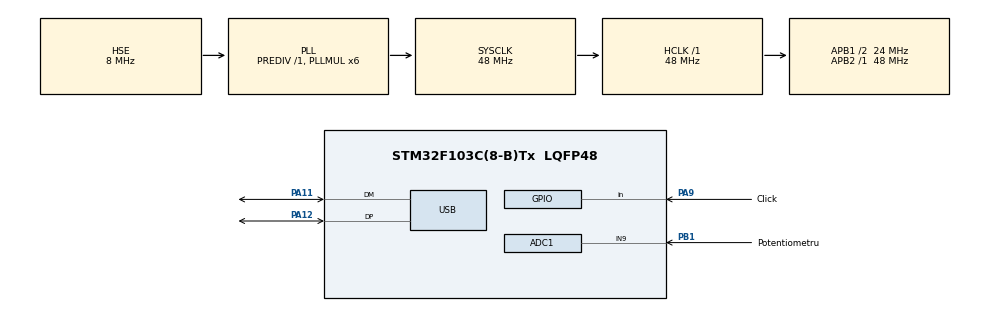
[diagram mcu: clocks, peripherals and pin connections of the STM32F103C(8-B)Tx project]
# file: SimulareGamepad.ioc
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ADC1.Channel-0\#ChannelRegularConversion=ADC_CHANNEL_9
ADC1.ContinuousConvMode=ENABLE
ADC1.NbrOfConversionFlag=1
ADC1.Rank-0\#ChannelRegularConversion=1
ADC1.SamplingTime-0\#ChannelRegularConversion=ADC_SAMPLETIME_1CYCLE_5
ADC1.master=1
Mcu.Family=STM32F1
Mcu.Name=STM32F103C(8-B)Tx
Mcu.Package=LQFP48
NVIC.PriorityGroup=NVIC_PRIORITYGROUP_4
NVIC.USB_LP_CAN1_RX0_IRQn=true\:0\:0\:false\:false\:true\:false\:true\:true
PA11.Mode=Device
PA11.Signal=USB_DM
PA12.Mode=Device
PA12.Signal=USB_DP
PA13.Mode=Serial_Wire
PA13.Signal=SYS_JTMS-SWDIO
PA14.Mode=Serial_Wire
PA14.Signal=SYS_JTCK-SWCLK
PA9.GPIO_Label=Click
PA9.Signal=GPIO_Input
PB1.GPIO_Label=Potentiometru
PB1.Signal=ADCx_IN9
PD0-OSC_IN.Mode=HSE-External-Oscillator
PD0-OSC_IN.Signal=RCC_OSC_IN
PD1-OSC_OUT.Mode=HSE-External-Oscillator
PD1-OSC_OUT.Signal=RCC_OSC_OUT
ProjectManager.HeapSize=0x200
ProjectManager.StackSize=0x400
ProjectManager.TargetToolchain=STM32CubeIDE
RCC.ADCPresc=RCC_ADCPCLK2_DIV4
RCC.AHBFreq_Value=48000000
RCC.APB1CLKDivider=RCC_HCLK_DIV2
RCC.APB1Freq_Value=24000000
RCC.APB1TimFreq_Value=48000000
RCC.APB2Freq_Value=48000000
RCC.APB2TimFreq_Value=48000000
RCC.HCLKFreq_Value=48000000
RCC.PLLMUL=RCC_PLL_MUL6
RCC.SYSCLKFreq_VALUE=48000000
RCC.SYSCLKSource=RCC_SYSCLKSOURCE_PLLCLK
RCC.USBFreq_Value=48000000
SH.ADCx_IN9.0=ADC1_IN9,IN9
USB_DEVICE.CLASS_NAME_FS=HID
USB_DEVICE.VirtualMode=Hid
USB_DEVICE.VirtualModeFS=Hid_FS
VP_USB_DEVICE_VS_USB_DEVICE_HID_FS.Mode=HID_FS
board=custom

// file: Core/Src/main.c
/* USER CODE BEGIN Header */
/**
  ******************************************************************************
  * @file           : main.c
  * @brief          : Main program body
  ******************************************************************************
  * @attention
  *
  * Copyright (c) 2025 STMicroelectronics.
  * All rights reserved.
  *
  * This software is licensed under terms that can be found in the LICENSE file
  * in the root directory of this software component.
  * If no LICENSE file comes with this software, it is provided AS-IS.
  *
  ******************************************************************************
  */
/* USER CODE END Header */
#include "main.h"
#include "usb_device.h"

/* USER CODE BEGIN PTD */
typedef struct{
	uint8_t buton;
	int8_t x;
}gamepadReport;
/* USER CODE END PTD */

ADC_HandleTypeDef hadc1;

/* USER CODE BEGIN PV */
uint16_t readValue;
uint8_t click;

gamepadReport reportContainer;

extern USBD_HandleTypeDef hUsbDeviceFS;
/* USER CODE END PV */

void SystemClock_Config(void);
static void MX_GPIO_Init(void);
static void MX_ADC1_Init(void);

int main(void)
{

  /* MCU Configuration--------------------------------------------------------*/

  /* Reset of all peripherals, Initializes the Flash interface and the Systick. */
  HAL_Init();

  /* Configure the system clock */
  SystemClock_Config();

  /* Initialize all configured peripherals */
  MX_GPIO_Init();
  MX_ADC1_Init();
  MX_USB_DEVICE_Init();
  /* USER CODE BEGIN 2 */
  HAL_ADC_Start(&hadc1);
  /* USER CODE END 2 */

  /* Infinite loop */
  /* USER CODE BEGIN WHILE */
  while (1)
  {
	  HAL_ADC_PollForConversion(&hadc1,1000);
	  readValue = HAL_ADC_GetValue(&hadc1) ;
	  click = HAL_GPIO_ReadPin(Click_GPIO_Port,Click_Pin);
	  reportContainer.buton = click;
	  reportContainer.x = (readValue * 254) / 4096 - 127;
	  USBD_HID_SendReport(&hUsbDeviceFS, (uint8_t*) &reportContainer,2);
	  HAL_Delay(10);
    /* USER CODE END WHILE */

  }
}

void SystemClock_Config(void)
{
  RCC_OscInitTypeDef RCC_OscInitStruct = {0};
  RCC_ClkInitTypeDef RCC_ClkInitStruct = {0};
  RCC_PeriphCLKInitTypeDef PeriphClkInit = {0};

  /** Initializes the RCC Oscillators according to the specified parameters
  * in the RCC_OscInitTypeDef structure.
  */
  RCC_OscInitStruct.OscillatorType = RCC_OSCILLATORTYPE_HSE;
  RCC_OscInitStruct.HSEState = RCC_HSE_ON;
  RCC_OscInitStruct.HSEPredivValue = RCC_HSE_PREDIV_DIV1;
  RCC_OscInitStruct.HSIState = RCC_HSI_ON;
  RCC_OscInitStruct.PLL.PLLState = RCC_PLL_ON;
  RCC_OscInitStruct.PLL.PLLSource = RCC_PLLSOURCE_HSE;
  RCC_OscInitStruct.PLL.PLLMUL = RCC_PLL_MUL6;
  if (HAL_RCC_OscConfig(&RCC_OscInitStruct) != HAL_OK)
  {
    Error_Handler();
  }

  /** Initializes the CPU, AHB and APB buses clocks
  */
  RCC_ClkInitStruct.ClockType = RCC_CLOCKTYPE_HCLK|RCC_CLOCKTYPE_SYSCLK
                              |RCC_CLOCKTYPE_PCLK1|RCC_CLOCKTYPE_PCLK2;
  RCC_ClkInitStruct.SYSCLKSource = RCC_SYSCLKSOURCE_PLLCLK;
  RCC_ClkInitStruct.AHBCLKDivider = RCC_SYSCLK_DIV1;
  RCC_ClkInitStruct.APB1CLKDivider = RCC_HCLK_DIV2;
  RCC_ClkInitStruct.APB2CLKDivider = RCC_HCLK_DIV1;

  if (HAL_RCC_ClockConfig(&RCC_ClkInitStruct, FLASH_LATENCY_1) != HAL_OK)
  {
    Error_Handler();
  }
  PeriphClkInit.PeriphClockSelection = RCC_PERIPHCLK_ADC|RCC_PERIPHCLK_USB;
  PeriphClkInit.AdcClockSelection = RCC_ADCPCLK2_DIV4;
  PeriphClkInit.UsbClockSelection = RCC_USBCLKSOURCE_PLL;
  if (HAL_RCCEx_PeriphCLKConfig(&PeriphClkInit) != HAL_OK)
  {
    Error_Handler();
  }
}

static void MX_ADC1_Init(void)
{

  ADC_ChannelConfTypeDef sConfig = {0};

  /** Common config
  */
  hadc1.Instance = ADC1;
  hadc1.Init.ScanConvMode = ADC_SCAN_DISABLE;
  hadc1.Init.ContinuousConvMode = ENABLE;
  hadc1.Init.DiscontinuousConvMode = DISABLE;
  hadc1.Init.ExternalTrigConv = ADC_SOFTWARE_START;
  hadc1.Init.DataAlign = ADC_DATAALIGN_RIGHT;
  hadc1.Init.NbrOfConversion = 1;
  if (HAL_ADC_Init(&hadc1) != HAL_OK)
  {
    Error_Handler();
  }

  /** Configure Regular Channel
  */
  sConfig.Channel = ADC_CHANNEL_9;
  sConfig.Rank = ADC_REGULAR_RANK_1;
  sConfig.SamplingTime = ADC_SAMPLETIME_1CYCLE_5;
  if (HAL_ADC_ConfigChannel(&hadc1, &sConfig) != HAL_OK)
  {
    Error_Handler();
  }

}

static void MX_GPIO_Init(void)
{
  GPIO_InitTypeDef GPIO_InitStruct = {0};

  /* GPIO Ports Clock Enable */
  __HAL_RCC_GPIOD_CLK_ENABLE();
  __HAL_RCC_GPIOB_CLK_ENABLE();
  __HAL_RCC_GPIOA_CLK_ENABLE();

  /*Configure GPIO pin : Click_Pin */
  GPIO_InitStruct.Pin = Click_Pin;
  GPIO_InitStruct.Mode = GPIO_MODE_INPUT;
  GPIO_InitStruct.Pull = GPIO_NOPULL;
  HAL_GPIO_Init(Click_GPIO_Port, &GPIO_InitStruct);

}

void Error_Handler(void)
{
  __disable_irq();
  while (1)
  {
  }
}
